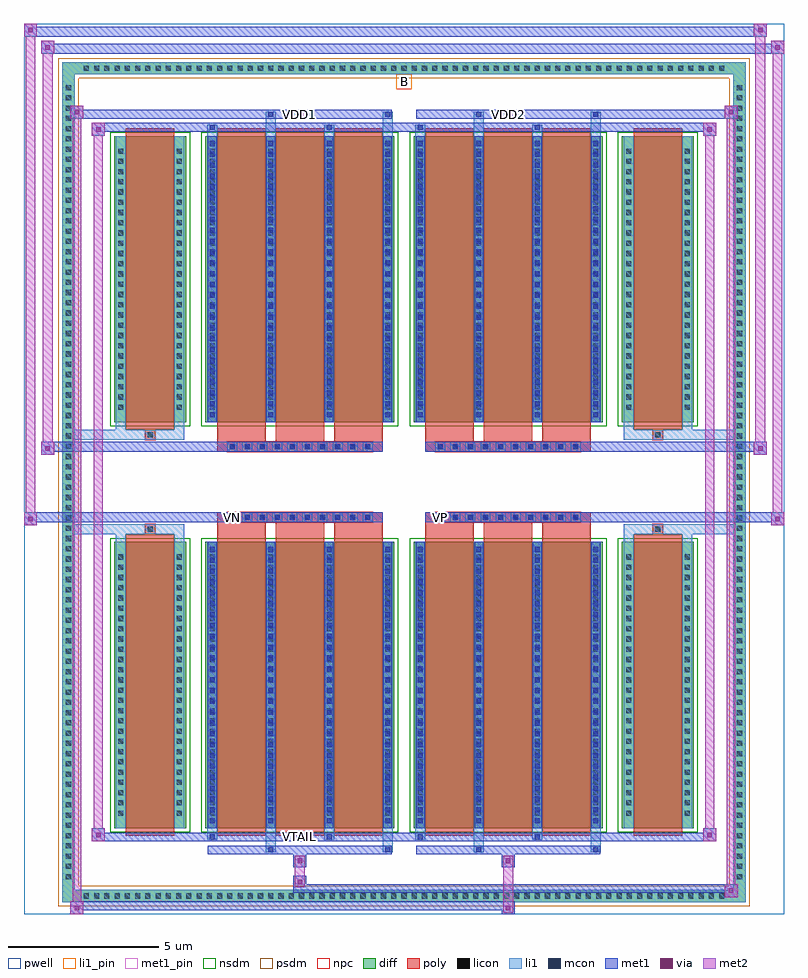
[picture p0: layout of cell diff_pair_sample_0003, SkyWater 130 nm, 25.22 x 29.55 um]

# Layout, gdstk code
import gdstk
lib = gdstk.Library(unit=1e-6, precision=5e-09)
def R(c, l, rs):  # rectangles x0, y0, x1, y1
    for r in rs: c.add(gdstk.rectangle(r[:2], r[2:], *l))
def A(c, l, x, y, w, h, nx, ny, dx, dy):  # array of equal rectangles
    R(c, l, [(x+i*dx, y+j*dy, x+i*dx+w, y+j*dy+h) for i in range(nx) for j in range(ny)])
def P(c, l, *ps):  # polygons
    for p in ps: c.add(gdstk.Polygon(p, *l))
pwell = (64, 44)
diff = (65, 20)
poly = (66, 20)
licon = (66, 44)
li1_pin = (67, 16)
li1 = (67, 20)
mcon = (67, 44)
met1_pin = (68, 16)
met1 = (68, 20)
via = (68, 44)
met2 = (69, 20)
nsdm = (93, 44)
psdm = (94, 20)
npc = (95, 20)

diff_pair_sample_0003 = lib.new_cell('diff_pair_sample_0003')
R(diff_pair_sample_0003, pwell, [(-12.61,-14.34,12.61,15.21), (-9.93,-12.53,-0.01,-0.805), (0.01,-12.53,9.93,-0.805), (-9.93,0.805,-0.01,12.53), (0.01,0.805,9.93,12.53)])
A(diff_pair_sample_0003, diff, -10.745, -13.94, 0.41, 0.41, 63, 2, 0.34, 27.47)
A(diff_pair_sample_0003, diff, -11.34, -13.295, 0.41, 0.41, 1, 78, 0, 0.34)
A(diff_pair_sample_0003, diff, 10.93, -13.295, 0.41, 0.41, 1, 78, 0, 0.34)
R(diff_pair_sample_0003, diff, [(-10.745,-13.94,10.745,-13.53), (-11.34,-13.295,-10.93,13.295), (10.93,-13.295,11.34,13.295), (-9.62,-11.485,-7.23,-1.985), (-6.59,-11.485,-0.32,-1.985), (0.32,-11.485,6.59,-1.985), (7.23,-11.485,9.62,-1.985), (-9.62,1.985,-7.23,11.485), (-6.59,1.985,-0.32,11.485), (0.32,1.985,6.59,11.485), (7.23,1.985,9.62,11.485), (-10.745,13.53,10.745,13.94)])
P(diff_pair_sample_0003, diff, [(11.34,13.94),(-11.34,13.94),(-11.34,-13.53),(-10.93,-13.53),(-10.93,13.53),(10.93,13.53),(10.93,-13.53),(-10.93,-13.53),(-11.34,-13.53),(-11.34,-13.94),(11.34,-13.94)])
A(diff_pair_sample_0003, poly, -6.2, -11.735, 1.61, 10, 3, 2, 1.94, 13.47)
A(diff_pair_sample_0003, poly, 0.71, -11.735, 1.61, 10, 3, 2, 1.94, 13.47)
A(diff_pair_sample_0003, poly, -6.2, -1.735, 1.61, 0.4, 3, 2, 1.94, 3.07)
A(diff_pair_sample_0003, poly, 0.71, -1.735, 1.61, 0.4, 3, 2, 1.94, 3.07)
A(diff_pair_sample_0003, poly, -5.87, -1.335, 0.33, 0.33, 10, 2, 0.5, 2.34)
A(diff_pair_sample_0003, poly, 1.04, -1.335, 0.33, 0.33, 10, 2, 0.5, 2.34)
R(diff_pair_sample_0003, poly, [(-9.23,-11.735,-7.62,-1.735), (7.62,-11.735,9.23,-1.735), (-8.59,-1.735,-8.26,-1.405), (-8.59,-1.735,-8.26,-1.405), (8.26,-1.735,8.59,-1.405), (8.26,-1.735,8.59,-1.405), (-6.2,-1.335,-0.71,-1.005), (0.71,-1.335,6.2,-1.005), (-6.2,1.005,-0.71,1.335), (0.71,1.005,6.2,1.335), (-8.59,1.405,-8.26,1.735), (-8.59,1.405,-8.26,1.735), (8.26,1.405,8.59,1.735), (8.26,1.405,8.59,1.735), (-9.23,1.735,-7.62,11.735), (7.62,1.735,9.23,11.735)])
A(diff_pair_sample_0003, licon, -10.625, -13.82, 0.17, 0.17, 63, 2, 0.34, 27.47)
A(diff_pair_sample_0003, licon, -11.22, -13.175, 0.17, 0.17, 1, 78, 0, 0.34)
A(diff_pair_sample_0003, licon, 11.05, -13.175, 0.17, 0.17, 1, 78, 0, 0.34)
A(diff_pair_sample_0003, licon, -9.48, -11.07, 0.17, 0.17, 1, 26, 0, 0.34)
A(diff_pair_sample_0003, licon, -7.54, -11.07, 0.17, 0.17, 1, 26, 0, 0.34)
A(diff_pair_sample_0003, licon, -6.45, -11.07, 0.17, 0.17, 4, 26, 1.94, 0.34)
A(diff_pair_sample_0003, licon, 0.46, -11.07, 0.17, 0.17, 4, 26, 1.94, 0.34)
A(diff_pair_sample_0003, licon, 7.37, -11.07, 0.17, 0.17, 1, 26, 0, 0.34)
A(diff_pair_sample_0003, licon, 9.31, -11.07, 0.17, 0.17, 1, 26, 0, 0.34)
A(diff_pair_sample_0003, licon, -5.79, -1.255, 0.17, 0.17, 10, 2, 0.5, 2.34)
A(diff_pair_sample_0003, licon, 1.12, -1.255, 0.17, 0.17, 10, 2, 0.5, 2.34)
A(diff_pair_sample_0003, licon, -9.48, 2.4, 0.17, 0.17, 1, 26, 0, 0.34)
A(diff_pair_sample_0003, licon, -7.54, 2.4, 0.17, 0.17, 1, 26, 0, 0.34)
A(diff_pair_sample_0003, licon, -6.45, 2.4, 0.17, 0.17, 4, 26, 1.94, 0.34)
A(diff_pair_sample_0003, licon, 0.46, 2.4, 0.17, 0.17, 4, 26, 1.94, 0.34)
A(diff_pair_sample_0003, licon, 7.37, 2.4, 0.17, 0.17, 1, 26, 0, 0.34)
A(diff_pair_sample_0003, licon, 9.31, 2.4, 0.17, 0.17, 1, 26, 0, 0.34)
R(diff_pair_sample_0003, licon, [(-8.51,-1.655,-8.34,-1.485), (8.34,-1.655,8.51,-1.485), (-8.51,1.485,-8.34,1.655), (8.34,1.485,8.51,1.655)])
R(diff_pair_sample_0003, li1_pin, [(-0.25,13.03,0.25,13.53)])
A(diff_pair_sample_0003, li1, -10.705, -13.9, 0.33, 0.33, 63, 2, 0.34, 27.47)
A(diff_pair_sample_0003, li1, -11.3, -13.255, 0.33, 0.33, 1, 78, 0, 0.34)
A(diff_pair_sample_0003, li1, 10.97, -13.255, 0.33, 0.33, 1, 78, 0, 0.34)
A(diff_pair_sample_0003, li1, -6.53, -11.485, 0.33, 9.5, 4, 2, 1.94, 13.47)
A(diff_pair_sample_0003, li1, 0.38, -11.485, 0.33, 9.5, 4, 2, 1.94, 13.47)
A(diff_pair_sample_0003, li1, -6.45, -11.32, 0.17, 0.17, 4, 26, 1.94, 0.36)
A(diff_pair_sample_0003, li1, -6.45, -11.32, 0.17, 9.17, 4, 2, 1.94, 13.47)
A(diff_pair_sample_0003, li1, 0.46, -11.32, 0.17, 0.17, 4, 26, 1.94, 0.36)
A(diff_pair_sample_0003, li1, 0.46, -11.32, 0.17, 9.17, 4, 2, 1.94, 13.47)
A(diff_pair_sample_0003, li1, -9.56, -11.15, 0.33, 0.33, 1, 26, 0, 0.34)
A(diff_pair_sample_0003, li1, -7.62, -11.15, 0.33, 0.33, 1, 26, 0, 0.34)
A(diff_pair_sample_0003, li1, -6.53, -11.15, 0.33, 0.33, 4, 26, 1.94, 0.34)
A(diff_pair_sample_0003, li1, 0.38, -11.15, 0.33, 0.33, 4, 26, 1.94, 0.34)
A(diff_pair_sample_0003, li1, 7.29, -11.15, 0.33, 0.33, 1, 26, 0, 0.34)
A(diff_pair_sample_0003, li1, 9.23, -11.15, 0.33, 0.33, 1, 26, 0, 0.34)
A(diff_pair_sample_0003, li1, -5.87, -1.335, 0.33, 0.33, 10, 2, 0.5, 2.34)
A(diff_pair_sample_0003, li1, 1.04, -1.335, 0.33, 0.33, 10, 2, 0.5, 2.34)
A(diff_pair_sample_0003, li1, -6.45, 2.15, 0.17, 0.17, 4, 26, 1.94, 0.36)
A(diff_pair_sample_0003, li1, 0.46, 2.15, 0.17, 0.17, 4, 26, 1.94, 0.36)
A(diff_pair_sample_0003, li1, -9.56, 2.32, 0.33, 0.33, 1, 26, 0, 0.34)
A(diff_pair_sample_0003, li1, -7.62, 2.32, 0.33, 0.33, 1, 26, 0, 0.34)
A(diff_pair_sample_0003, li1, -6.53, 2.32, 0.33, 0.33, 4, 26, 1.94, 0.34)
A(diff_pair_sample_0003, li1, 0.38, 2.32, 0.33, 0.33, 4, 26, 1.94, 0.34)
A(diff_pair_sample_0003, li1, 7.29, 2.32, 0.33, 0.33, 1, 26, 0, 0.34)
A(diff_pair_sample_0003, li1, 9.23, 2.32, 0.33, 0.33, 1, 26, 0, 0.34)
R(diff_pair_sample_0003, li1, [(-11.34,-13.94,-10.93,-13.53), (-11.34,-13.94,-10.93,-13.53), (-10.93,-13.94,10.93,-13.53), (10.93,-13.94,11.34,-13.53), (10.93,-13.94,11.34,-13.53), (-11.34,-13.53,-10.93,13.53), (10.93,-13.53,11.34,13.53), (-4.59,-12.29,-4.26,-11.485), (-4.51,-12.29,-4.34,-12.12), (-0.71,-12.29,-0.38,-11.485), (-0.63,-12.29,-0.46,-12.12), (2.32,-12.29,2.65,-11.485), (2.4,-12.29,2.57,-12.12), (6.2,-12.29,6.53,-11.485), (6.28,-12.29,6.45,-12.12), (-6.53,-11.86,-6.2,-11.485), (-6.45,-11.86,-6.28,-11.69), (-2.65,-11.86,-2.32,-11.485), (-2.57,-11.86,-2.4,-11.69), (0.38,-11.86,0.71,-11.485), (0.46,-11.86,0.63,-11.69), (4.26,-11.86,4.59,-11.485), (4.34,-11.86,4.51,-11.69), (-9.56,-11.485,-9.23,-1.985), (-7.62,-11.485,-7.29,-1.985), (7.29,-11.485,7.62,-1.985), (9.23,-11.485,9.56,-1.985), (-9.56,-1.985,-9.23,-1.405), (-7.62,-1.985,-7.29,-1.405), (7.29,-1.985,7.62,-1.405), (9.23,-1.985,9.56,-1.405), (-11.34,-1.735,-8.59,-1.405), (-9.56,-1.735,-8.59,-1.405), (-8.59,-1.735,-8.26,-1.405), (-8.26,-1.735,-7.29,-1.405), (7.29,-1.735,8.26,-1.405), (8.26,-1.735,8.59,-1.405), (8.26,-1.735,11.34,-1.405), (8.59,-1.735,9.56,-1.405), (-11.34,1.405,-8.59,1.735), (-9.56,1.405,-8.59,1.735), (-9.56,1.405,-9.23,1.985), (-8.59,1.405,-8.26,1.735), (-8.26,1.405,-7.29,1.735), (-7.62,1.405,-7.29,1.985), (7.29,1.405,8.26,1.735), (7.29,1.405,7.62,1.985), (8.26,1.405,8.59,1.735), (8.26,1.405,11.34,1.735), (8.59,1.405,9.56,1.735), (9.23,1.405,9.56,1.985), (-9.56,1.985,-9.23,11.485), (-7.62,1.985,-7.29,11.485), (7.29,1.985,7.62,11.485), (9.23,1.985,9.56,11.485), (-6.53,11.485,-6.2,11.86), (-4.59,11.485,-4.26,12.29), (-2.65,11.485,-2.32,11.86), (-0.71,11.485,-0.38,12.29), (0.38,11.485,0.71,11.86), (2.32,11.485,2.65,12.29), (4.26,11.485,4.59,11.86), (6.2,11.485,6.53,12.29), (-6.45,11.69,-6.28,11.86), (-2.57,11.69,-2.4,11.86), (0.46,11.69,0.63,11.86), (4.34,11.69,4.51,11.86), (-4.51,12.12,-4.34,12.29), (-0.63,12.12,-0.46,12.29), (2.4,12.12,2.57,12.29), (6.28,12.12,6.45,12.29), (-11.34,13.53,-10.93,13.94), (-11.34,13.53,-10.93,13.94), (-10.93,13.53,10.93,13.94), (10.93,13.53,11.34,13.94), (10.93,13.53,11.34,13.94)])
A(diff_pair_sample_0003, mcon, -6.45, -11.32, 0.17, 0.17, 4, 26, 1.94, 0.36)
A(diff_pair_sample_0003, mcon, 0.46, -11.32, 0.17, 0.17, 4, 26, 1.94, 0.36)
A(diff_pair_sample_0003, mcon, -5.79, -1.255, 0.17, 0.17, 10, 2, 0.5, 2.34)
A(diff_pair_sample_0003, mcon, 1.12, -1.255, 0.17, 0.17, 10, 2, 0.5, 2.34)
A(diff_pair_sample_0003, mcon, -6.45, 2.15, 0.17, 0.17, 4, 26, 1.94, 0.36)
A(diff_pair_sample_0003, mcon, 0.46, 2.15, 0.17, 0.17, 4, 26, 1.94, 0.36)
R(diff_pair_sample_0003, mcon, [(-4.51,-12.29,-4.34,-12.12), (-0.63,-12.29,-0.46,-12.12), (2.4,-12.29,2.57,-12.12), (6.28,-12.29,6.45,-12.12), (-6.45,-11.86,-6.28,-11.69), (-2.57,-11.86,-2.4,-11.69), (0.46,-11.86,0.63,-11.69), (4.34,-11.86,4.51,-11.69), (-6.45,11.69,-6.28,11.86), (-2.57,11.69,-2.4,11.86), (0.46,11.69,0.63,11.86), (4.34,11.69,4.51,11.86), (-4.51,12.12,-4.34,12.29), (-0.63,12.12,-0.46,12.29), (2.4,12.12,2.57,12.29), (6.28,12.12,6.45,12.29)])
R(diff_pair_sample_0003, met1_pin, [(-3.59,-11.9,-3.32,-11.63), (-5.84,-1.295,-5.57,-1.025), (1.07,-1.295,1.34,-1.025), (-3.59,12.08,-3.32,12.35), (3.32,12.08,3.59,12.35)])
A(diff_pair_sample_0003, met1, -6.51, -11.485, 0.29, 9.5, 4, 2, 1.94, 13.47)
A(diff_pair_sample_0003, met1, 0.4, -11.485, 0.29, 9.5, 4, 2, 1.94, 13.47)
A(diff_pair_sample_0003, met1, -6.51, -11.38, 0.29, 0.29, 4, 26, 1.94, 0.36)
A(diff_pair_sample_0003, met1, 0.4, -11.38, 0.29, 0.29, 4, 26, 1.94, 0.36)
A(diff_pair_sample_0003, met1, -5.85, -1.315, 0.29, 0.29, 10, 2, 0.5, 2.34)
A(diff_pair_sample_0003, met1, 1.06, -1.315, 0.29, 0.29, 10, 2, 0.5, 2.34)
A(diff_pair_sample_0003, met1, -6.51, 2.09, 0.29, 0.29, 4, 26, 1.94, 0.36)
A(diff_pair_sample_0003, met1, 0.4, 2.09, 0.29, 0.29, 4, 26, 1.94, 0.36)
R(diff_pair_sample_0003, met1, [(-11.07,-14.34,-10.64,-13.91), (3.24,-14.34,3.67,-13.91), (-11.07,-14.2,3.67,-13.91), (10.64,-13.77,11.07,-13.34), (-3.67,-13.63,11.07,-13.34), (-3.67,-13.49,-3.24,-13.06), (-3.67,-12.78,-3.24,-12.35), (3.24,-12.78,3.67,-12.35), (-6.51,-12.35,-0.4,-12.06), (-4.57,-12.35,-4.28,-12.06), (-0.69,-12.35,-0.4,-12.06), (0.4,-12.35,6.51,-12.06), (2.34,-12.35,2.63,-12.06), (6.22,-12.35,6.51,-12.06), (-10.36,-11.92,-9.93,-11.49), (-10.36,-11.92,-6.51,-11.63), (-6.51,-11.92,-6.22,-11.63), (-6.51,-11.92,-0.4,-11.63), (-2.63,-11.92,-2.34,-11.63), (-0.4,-11.92,0.4,-11.63), (0.4,-11.92,0.69,-11.63), (0.4,-11.92,6.51,-11.63), (4.28,-11.92,4.57,-11.63), (6.51,-11.92,10.36,-11.63), (9.93,-11.92,10.36,-11.49), (-12.61,-1.435,-12.18,-1.005), (12.18,-1.435,12.61,-1.005), (-12.61,-1.335,-0.71,-1.005), (-6.2,-1.335,-0.71,-1.005), (0.71,-1.335,6.2,-1.005), (0.71,-1.335,12.61,-1.005), (-12.04,0.905,-11.61,1.335), (11.61,0.905,12.04,1.335), (-12.04,1.005,-6.2,1.335), (-6.2,1.005,-0.71,1.335), (0.71,1.005,6.2,1.335), (6.2,1.005,12.04,1.335), (-10.36,11.49,-9.93,11.92), (9.93,11.49,10.36,11.92), (-10.36,11.63,-6.51,11.92), (-6.51,11.63,-6.22,11.92), (-6.51,11.63,-0.4,11.92), (-2.63,11.63,-2.34,11.92), (-0.4,11.63,0.4,11.92), (0.4,11.63,0.69,11.92), (0.4,11.63,6.51,11.92), (4.28,11.63,4.57,11.92), (6.51,11.63,10.36,11.92), (-11.07,12.06,-10.64,12.49), (-11.07,12.06,-6.51,12.35), (-6.51,12.06,-0.4,12.35), (-4.57,12.06,-4.28,12.35), (-0.69,12.06,-0.4,12.35), (0.4,12.06,6.51,12.35), (2.34,12.06,2.63,12.35), (6.22,12.06,6.51,12.35), (6.51,12.06,11.07,12.35), (10.64,12.06,11.07,12.49), (-12.04,14.21,-11.61,14.64), (-12.04,14.21,-9.93,14.54), (-9.93,14.21,9.93,14.54), (9.93,14.21,12.61,14.54), (12.18,14.21,12.61,14.64), (-12.61,14.78,-12.18,15.21), (-12.61,14.78,-9.93,15.11), (-9.93,14.78,9.93,15.11), (9.93,14.78,12.04,15.11), (11.61,14.78,12.04,15.21)])
R(diff_pair_sample_0003, via, [(-10.93,-14.2,-10.78,-14.05), (3.38,-14.2,3.53,-14.05), (10.78,-13.63,10.93,-13.48), (-3.53,-13.35,-3.38,-13.2), (-3.53,-12.64,-3.38,-12.49), (3.38,-12.64,3.53,-12.49), (-10.22,-11.78,-10.07,-11.63), (10.07,-11.78,10.22,-11.63), (-12.47,-1.295,-12.32,-1.145), (12.32,-1.295,12.47,-1.145), (-11.9,1.045,-11.75,1.195), (11.75,1.045,11.9,1.195), (-10.22,11.63,-10.07,11.78), (10.07,11.63,10.22,11.78), (-10.93,12.2,-10.78,12.35), (10.78,12.2,10.93,12.35), (-11.9,14.35,-11.75,14.5), (12.32,14.35,12.47,14.5), (-12.47,14.92,-12.32,15.07), (11.75,14.92,11.9,15.07)])
R(diff_pair_sample_0003, met2, [(-11.07,-14.34,-10.64,-13.91), (-11,-14.34,-10.71,12.49), (-10.71,-14.34,-10.64,-13.91), (-11.02,-14.29,-10.69,-13.96), (3.29,-14.29,3.62,-13.96), (3.29,-13.96,3.62,-12.73), (10.64,-13.77,11.07,-13.34), (10.71,-13.77,11,12.49), (11,-13.77,11.07,-13.34), (10.69,-13.72,11.02,-13.39), (-3.62,-13.44,-3.29,-13.11), (-3.62,-13.11,-3.29,-12.73), (-3.62,-12.73,-3.29,-12.4), (3.29,-12.73,3.62,-12.4), (-10.36,-11.92,-9.93,-11.49), (-10.29,-11.92,-10,11.92), (-10,-11.92,-9.93,-11.49), (9.93,-11.92,10.36,-11.49), (10,-11.92,10.29,11.92), (10.29,-11.92,10.36,-11.49), (-10.31,-11.87,-9.98,-11.54), (9.98,-11.87,10.31,-11.54), (-12.61,-1.435,-12.18,-1.005), (-12.56,-1.435,-12.23,15.21), (-12.23,-1.435,-12.18,-1.005), (12.18,-1.435,12.61,-1.005), (12.23,-1.435,12.56,14.64), (12.56,-1.435,12.61,-1.005), (-12.56,-1.385,-12.23,-1.055), (12.23,-1.385,12.56,-1.055), (-12.04,0.905,-11.61,1.335), (-11.99,0.905,-11.66,14.64), (-11.66,0.905,-11.61,1.335), (11.61,0.905,12.04,1.335), (11.66,0.905,11.99,15.21), (11.99,0.905,12.04,1.335), (-11.99,0.955,-11.66,1.285), (11.66,0.955,11.99,1.285), (-10.36,11.49,-9.93,11.92), (-10,11.49,-9.93,11.92), (9.93,11.49,10.36,11.92), (10.29,11.49,10.36,11.92), (-10.31,11.54,-9.98,11.87), (9.98,11.54,10.31,11.87), (-11.07,12.06,-10.64,12.49), (-10.71,12.06,-10.64,12.49), (10.64,12.06,11.07,12.49), (11,12.06,11.07,12.49), (-11.02,12.11,-10.69,12.44), (10.69,12.11,11.02,12.44), (-12.04,14.21,-11.61,14.64), (-11.66,14.21,-11.61,14.64), (12.18,14.21,12.61,14.64), (12.56,14.21,12.61,14.64), (-11.99,14.26,-11.66,14.59), (12.23,14.26,12.56,14.59), (-12.61,14.78,-12.18,15.21), (-12.23,14.78,-12.18,15.21), (11.61,14.78,12.04,15.21), (11.99,14.78,12.04,15.21), (-12.56,14.83,-12.23,15.16), (11.66,14.83,11.99,15.16)])
R(diff_pair_sample_0003, nsdm, [(-9.75,-11.615,-7.1,-1.855), (-6.72,-11.615,-0.19,-1.855), (0.19,-11.615,6.72,-1.855), (7.1,-11.615,9.75,-1.855), (-9.75,1.855,-7.1,11.615), (-6.72,1.855,-0.19,11.615), (0.19,1.855,6.72,11.615), (7.1,1.855,9.75,11.615)])
P(diff_pair_sample_0003, psdm, [(11.47,14.07),(-11.47,14.07),(-11.47,-13.4),(-10.8,-13.4),(-10.8,13.4),(10.8,13.4),(10.8,-13.4),(-10.8,-13.4),(-11.47,-13.4),(-11.47,-14.07),(11.47,-14.07)])
A(diff_pair_sample_0003, npc, -5.89, -1.355, 0.37, 0.37, 10, 2, 0.5, 2.34)
A(diff_pair_sample_0003, npc, 1.02, -1.355, 0.37, 0.37, 10, 2, 0.5, 2.34)
R(diff_pair_sample_0003, npc, [(-8.61,-1.755,-8.24,-1.385), (8.24,-1.755,8.61,-1.385), (-5.89,-1.355,-5.02,-0.985), (-5.89,-1.355,-5.02,-0.985), (-5.39,-1.355,-4.52,-0.985), (-5.39,-1.355,-4.52,-0.985), (-4.89,-1.355,-4.02,-0.985), (-4.89,-1.355,-4.02,-0.985), (-4.39,-1.355,-3.52,-0.985), (-4.39,-1.355,-3.52,-0.985), (-3.89,-1.355,-3.02,-0.985), (-3.89,-1.355,-3.02,-0.985), (-3.39,-1.355,-2.52,-0.985), (-3.39,-1.355,-2.52,-0.985), (-2.89,-1.355,-2.02,-0.985), (-2.89,-1.355,-2.02,-0.985), (-2.39,-1.355,-1.52,-0.985), (-2.39,-1.355,-1.52,-0.985), (-1.89,-1.355,-1.02,-0.985), (-1.89,-1.355,-1.02,-0.985), (1.02,-1.355,1.89,-0.985), (1.02,-1.355,1.89,-0.985), (1.52,-1.355,2.39,-0.985), (1.52,-1.355,2.39,-0.985), (2.02,-1.355,2.89,-0.985), (2.02,-1.355,2.89,-0.985), (2.52,-1.355,3.39,-0.985), (2.52,-1.355,3.39,-0.985), (3.02,-1.355,3.89,-0.985), (3.02,-1.355,3.89,-0.985), (3.52,-1.355,4.39,-0.985), (3.52,-1.355,4.39,-0.985), (4.02,-1.355,4.89,-0.985), (4.02,-1.355,4.89,-0.985), (4.52,-1.355,5.39,-0.985), (4.52,-1.355,5.39,-0.985), (5.02,-1.355,5.89,-0.985), (5.02,-1.355,5.89,-0.985), (-5.89,0.985,-5.02,1.355), (-5.89,0.985,-5.02,1.355), (-5.39,0.985,-4.52,1.355), (-5.39,0.985,-4.52,1.355), (-4.89,0.985,-4.02,1.355), (-4.89,0.985,-4.02,1.355), (-4.39,0.985,-3.52,1.355), (-4.39,0.985,-3.52,1.355), (-3.89,0.985,-3.02,1.355), (-3.89,0.985,-3.02,1.355), (-3.39,0.985,-2.52,1.355), (-3.39,0.985,-2.52,1.355), (-2.89,0.985,-2.02,1.355), (-2.89,0.985,-2.02,1.355), (-2.39,0.985,-1.52,1.355), (-2.39,0.985,-1.52,1.355), (-1.89,0.985,-1.02,1.355), (-1.89,0.985,-1.02,1.355), (1.02,0.985,1.89,1.355), (1.02,0.985,1.89,1.355), (1.52,0.985,2.39,1.355), (1.52,0.985,2.39,1.355), (2.02,0.985,2.89,1.355), (2.02,0.985,2.89,1.355), (2.52,0.985,3.39,1.355), (2.52,0.985,3.39,1.355), (3.02,0.985,3.89,1.355), (3.02,0.985,3.89,1.355), (3.52,0.985,4.39,1.355), (3.52,0.985,4.39,1.355), (4.02,0.985,4.89,1.355), (4.02,0.985,4.89,1.355), (4.52,0.985,5.39,1.355), (4.52,0.985,5.39,1.355), (5.02,0.985,5.89,1.355), (5.02,0.985,5.89,1.355), (-8.61,1.385,-8.24,1.755), (8.24,1.385,8.61,1.755)])
diff_pair_sample_0003.add(gdstk.Label('VTAIL', (-3.455,-11.765), layer=68, texttype=5))
diff_pair_sample_0003.add(gdstk.Label('VN', (-5.705,-1.16), layer=68, texttype=5))
diff_pair_sample_0003.add(gdstk.Label('VP', (1.205,-1.16), layer=68, texttype=5))
diff_pair_sample_0003.add(gdstk.Label('B', (0,13.28), layer=67, texttype=5))
diff_pair_sample_0003.add(gdstk.Label('VDD2', (3.455,12.215), layer=68, texttype=5))
diff_pair_sample_0003.add(gdstk.Label('VDD1', (-3.455,12.215), layer=68, texttype=5))

lib.write_gds('diff_pair_sample_0003.gds')
